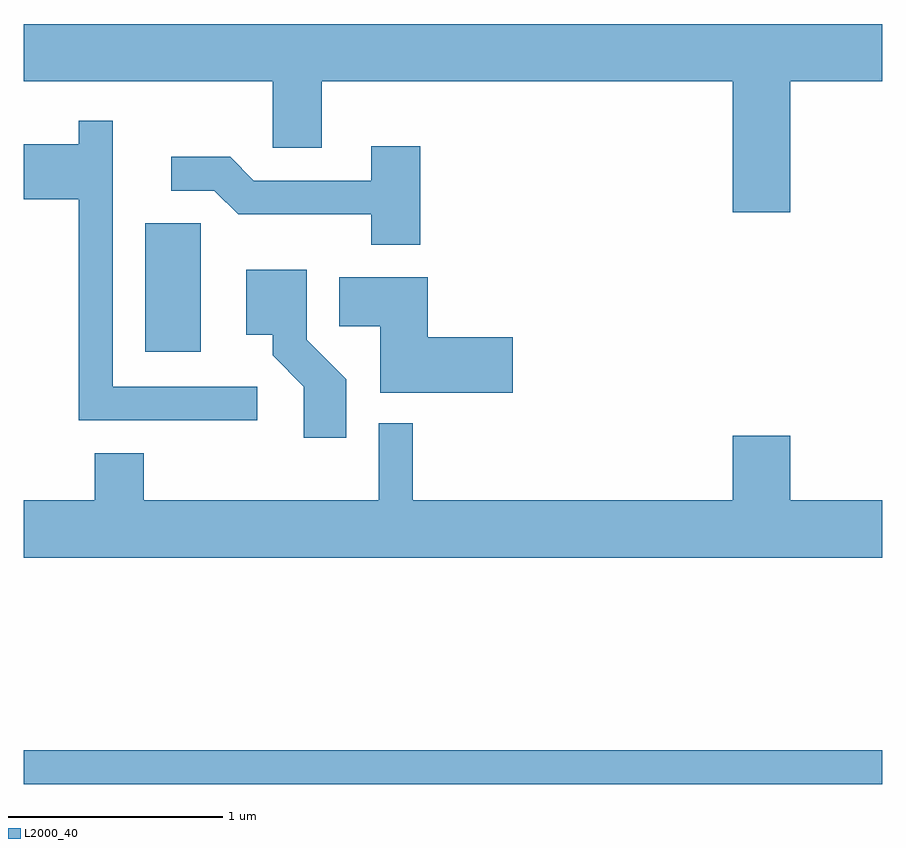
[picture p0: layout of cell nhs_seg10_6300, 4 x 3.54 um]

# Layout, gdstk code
import gdstk
lib = gdstk.Library(unit=1e-6, precision=1e-09)
def R(c, l, rs):  # rectangles x0, y0, x1, y1
    for r in rs: c.add(gdstk.rectangle(r[:2], r[2:], *l))
def P(c, l, *ps):  # polygons
    for p in ps: c.add(gdstk.Polygon(p, *l))
L2000_40 = (2000, 40)

nhs_seg10_6300 = lib.new_cell('nhs_seg10_6300')
R(nhs_seg10_6300, L2000_40, [(371.611,2110.641,375.611,2110.799), (372.176,2112.656,372.434,2113.254)])
P(nhs_seg10_6300, L2000_40, [(375.184,2113.916),(375.611,2113.916),(375.611,2114.184),(371.611,2114.184),(371.611,2113.916),(372.771,2113.916),(372.771,2113.606),(372.999,2113.606),(372.999,2113.916),(374.916,2113.916),(374.916,2113.306),(375.184,2113.306)],
  [(372.698,2112.494),(372.024,2112.494),(372.024,2113.733),(371.866,2113.733),(371.866,2113.624),(371.611,2113.624),(371.611,2113.366),(371.866,2113.366),(371.866,2112.336),(372.698,2112.336)],
  [(373.459,2113.614),(373.231,2113.614),(373.231,2113.454),(372.682,2113.454),(372.572,2113.564),(372.298,2113.564),(372.298,2113.406),(372.499,2113.406),(372.609,2113.296),(373.231,2113.296),(373.231,2113.156),(373.459,2113.156)],
  [(373.114,2112.527),(372.929,2112.712),(372.929,2113.039),(372.646,2113.039),(372.646,2112.736),(372.771,2112.736),(372.771,2112.639),(372.916,2112.494),(372.916,2112.256),(373.114,2112.256)],
  [(373.889,2112.724),(373.494,2112.724),(373.494,2113.004),(373.081,2113.004),(373.081,2112.776),(373.271,2112.776),(373.271,2112.466),(373.889,2112.466)],
  [(375.611,2111.964),(375.184,2111.964),(375.184,2112.264),(374.916,2112.264),(374.916,2111.964),(373.424,2111.964),(373.424,2112.323),(373.266,2112.323),(373.266,2111.964),(372.169,2111.964),(372.169,2112.184),(371.941,2112.184),(371.941,2111.964),(371.611,2111.964),(371.611,2111.696),(375.611,2111.696)])

lib.write_gds('nhs_seg10_6300.gds')
